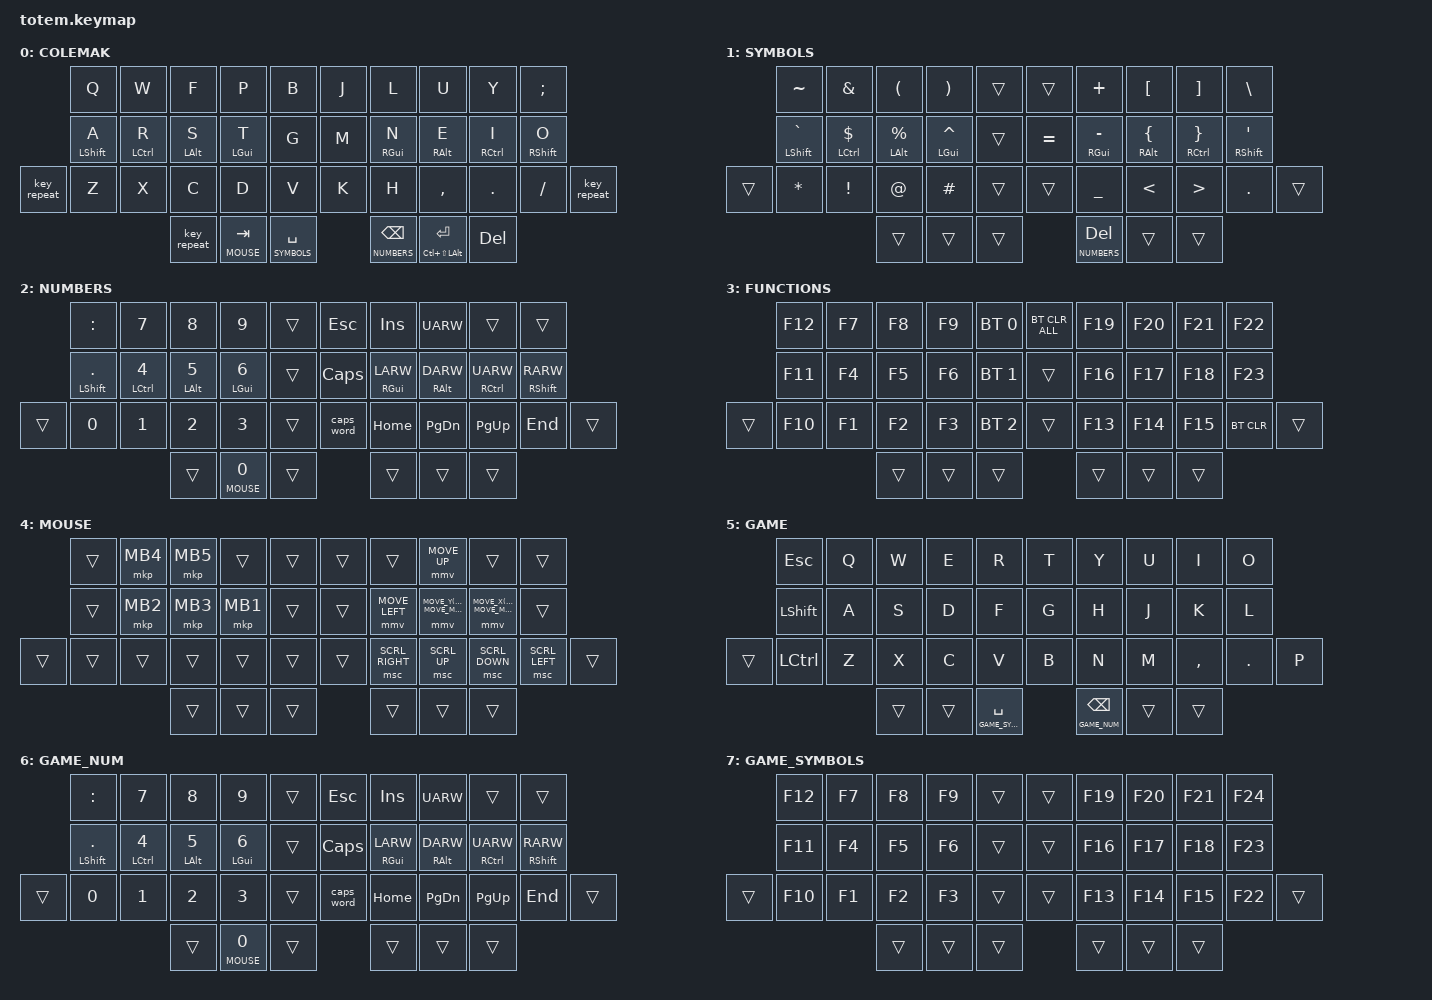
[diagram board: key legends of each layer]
//
//                                                        ▀▀▀▀▀     ▀▀▀▀▀          ▀▀█▀▀
//                                                        ▄▀▀▀▄  ▄  ▄▀▀▀▄  ▄  ▄▀▀▀▄  █  ▄▀▀▀▄
//                                                        █   █  █  █   █  █  █   █  █  █   █
//                                                         ▀▀▀   █   ▀▀▀   █   ▀▀▀   ▀   ▀▀▀
//                                                               █      ▄▄▄█▄▄▄    █   █  
//                                                               ▀      █  █  █     █▄█
//                                                             ▀▀▀▀▀    █  █  █      ▀
//                                                                      ▀  ▀  ▀
//
// ▄▄▄▄▄▄▄▄▄▄▄▄▄▄▄▄▄▄▄▄▄▄▄▄▄▄▄▄▄▄▄▄▄▄▄▄▄▄▄▄▄▄▄▄▄▄▄▄▄▄▄▄▄▄▄▄▄▄▄▄▄▄▄▄▄▄▄▄▄▄▄▄▄▄▄▄▄▄▄▄▄▄▄▄▄▄▄▄▄▄▄▄▄▄▄▄▄▄▄▄▄▄▄▄▄▄▄▄▄▄▄▄▄▄▄▄▄▄▄▄▄▄▄▄▄▄▄▄▄▄▄▄▄▄▄▄▄▄▄▄▄▄▄▄▄▄▄▄▄
       

#include <behaviors.dtsi>
#include <dt-bindings/zmk/keys.h>
#include <dt-bindings/zmk/bt.h>
#include <dt-bindings/zmk/outputs.h>
#include <dt-bindings/zmk/mouse.h>

#define COLEMAK   0
#define SYMBOLS   1
#define NUMBERS   2
#define FUNCTIONS 3
#define MOUSE     4
#define GAME      5
#define GAME_NUM  6
#define GAME_SYMBOLS  7


// Mouse config
#define U_MOUSE_MOVE_MAX 2000
#undef MOVE_UP
#undef MOVE_DOWN
#undef MOVE_LEFT
#undef MOVE_RIGHT
#define MOVE_UP MOVE_Y(-U_MOUSE_MOVE_MAX)
#define MOVE_DOWN MOVE_Y(U_MOUSE_MOVE_MAX)
#define MOVE_LEFT MOVE_X(-U_MOUSE_MOVE_MAX)
#define MOVE_RIGHT MOVE_X(U_MOUSE_MOVE_MAX)

&mmv {
 	time-to-max-speed-ms = <500>;
};

#define U_MOUSE_SCROLL_MAX 100
#undef SCROLL_UP
#undef SCROLL_DOWN
#undef SCROLL_LEFT
#undef SCROLL_RIGHT
#define SCROLL_UP SCROLL_Y(U_MOUSE_SCROLL_MAX)
#define SCROLL_DOWN SCROLL_Y(-U_MOUSE_SCROLL_MAX)
#define SCROLL_LEFT SCROLL_X(-U_MOUSE_SCROLL_MAX)
#define SCROLL_RIGHT SCROLL_X(U_MOUSE_SCROLL_MAX)

&msc {
  time-to-max-speed-ms = <500>;
};

&mt {
  quick-tap-ms = <100>;
  global-quick-tap;
  flavor = "tap-preferred";
  tapping-term-ms = <170>;
};

&sl {
    release-after-ms = <2000>;
};



/ {
    combos {
        compatible = "zmk,combos"; 

        function_layer_combo {
            bindings = <&mo FUNCTIONS>;
            key-positions = <34 35>; //inner thumb keys
            timeout-ms = <50>;
        };

        game_layer_combo {
            bindings = <&tog GAME>;
            key-positions = <0 1 2 3>;
            timeout-ms = <50>;
        };

        repeat_key_combo {
            bindings = <&key_repeat>;
            key-positions = <27 28>; //bottom right index and middle
            timeout-ms = <50>;
        };

    };

        keymap {
                compatible = "zmk,keymap";
// ▄▄▄▄▄▄▄▄▄▄▄▄▄▄▄▄▄▄▄▄▄▄▄▄▄▄▄▄▄▄▄▄▄▄▄▄▄▄▄▄▄▄▄▄▄▄▄▄▄▄▄▄▄▄▄▄▄▄▄▄▄▄▄▄▄▄▄▄▄▄▄▄▄▄▄▄▄▄▄▄▄▄▄▄▄▄▄▄▄▄▄▄▄▄▄▄▄▄▄▄▄▄▄▄▄▄▄▄▄▄▄▄▄▄▄▄▄▄▄▄▄▄▄▄▄▄▄▄▄▄▄▄▄▄▄▄▄▄▄▄▄▄▄▄▄▄▄▄▄

                base_layer {
// ┏━━━━━━━━━━━━━━━━━━━━━━━━━━━━━━━━━━━━━━━┓
label= "COLEMAK"                           ;
// ┗━━━━━━━━━━━━━━━━━━━━━━━━━━━━━━━━━━━━━━━┛
//             ┏━━━━━━━━━━━┳━━━━━━━━━━━┳━━━━━━━━━━━┳━━━━━━━━━━━┳━━━━━━━━━━━┓   ┏━━━━━━━━━━━┳━━━━━━━━━━━┳━━━━━━━━━━━┳━━━━━━━━━━━┳━━━━━━━━━━━┓
//             ┃     Q     ┃     W     ┃     F     ┃     P     ┃     B     ┃   ┃     J     ┃     L     ┃     U     ┃     Y     ┃     ;     ┃
//             ┣━━━━━━━━━━━╋━━━━━━━━━━━╋━━━━━━━━━━━╋━━━━━━━━━━━╋━━━━━━━━━━━┫   ┣━━━━━━━━━━━╋━━━━━━━━━━━╋━━━━━━━━━━━╋━━━━━━━━━━━╋━━━━━━━━━━━┫
//             ┃     A     ┃     R     ┃     S     ┃     T     ┃     G     ┃   ┃     M     ┃     N     ┃     E     ┃     I     ┃     O     ┃
// ┏━━━━━━━━━━━╋━━━━━━━━━━━╋━━━━━━━━━━━╋━━━━━━━━━━━╋━━━━━━━━━━━╋━━━━━━━━━━━┫   ┣━━━━━━━━━━━╋━━━━━━━━━━━╋━━━━━━━━━━━╋━━━━━━━━━━━╋━━━━━━━━━━━╋━━━━━━━━━━━┓
// ┃  REPEAT   ┃     Z     ┃     X     ┃     C     ┃     D     ┃     V     ┃   ┃     K     ┃     H     ┃     ,     ┃     .     ┃     /     ┃   REPEAT  ┃
// ┗━━━━━━━━━━━┻━━━━━━━━━━━┻━━━━━━━━━━━╋━━━━━━━━━━━╋━━━━━━━━━━━╋━━━━━━━━━━━┫   ┣━━━━━━━━━━━╋━━━━━━━━━━━╋━━━━━━━━━━━╋━━━━━━━━━━━┻━━━━━━━━━━━┻━━━━━━━━━━━┛
//                                     ┃   REPEAT  ┃    TAB    ┃    SPC    ┃   ┃   BSPC    ┃   ENTER   ┃    DEL    ┃
//                                     ┗━━━━━━━━━━━┻━━━━━━━━━━━┻━━━━━━━━━━━┛   ┗━━━━━━━━━━━┻━━━━━━━━━━━┻━━━━━━━━━━━┛
 bindings = <
// ╷                    ╷               ╷               ╷               ╷               ╷               ╷       ╷               ╷               ╷               ╷               ╷               ╷               ╷

                        &kp Q           &kp W           &kp F           &kp P           &kp B                   &kp J           &kp L           &kp U           &kp Y           &kp SEMI
                        &mt LSHFT A     &mt LCTRL R     &mt LALT S      &mt LGUI T      &kp G                   &kp M           &mt RGUI N      &mt RALT E      &mt RCTRL I     &mt RSHFT O
        &key_repeat     &kp Z           &kp X           &kp C           &kp D           &kp V                   &kp K           &kp H           &kp COMMA       &kp DOT         &kp FSLH        &key_repeat
                                                        &key_repeat     &lt MOUSE TAB   &lt SYMBOLS SPACE       &lt NUMBERS BSPC   &mt LC(LS(LALT)) RET    &kp DEL
                        >;
                };

// ▄▄▄▄▄▄▄▄▄▄▄▄▄▄▄▄▄▄▄▄▄▄▄▄▄▄▄▄▄▄▄▄▄▄▄▄▄▄▄▄▄▄▄▄▄▄▄▄▄▄▄▄▄▄▄▄▄▄▄▄▄▄▄▄▄▄▄▄▄▄▄▄▄▄▄▄▄▄▄▄▄▄▄▄▄▄▄▄▄▄▄▄▄▄▄▄▄▄▄▄▄▄▄▄▄▄▄▄▄▄▄▄▄▄▄▄▄▄▄▄▄▄▄▄▄▄▄▄▄▄▄▄▄▄▄▄▄▄▄▄▄▄▄▄▄▄▄▄▄


                symbols_layer {
// ┏━━━━━━━━━━━━━━━━━━━━━━━━━━━━━━━━━━━━━━━┓
label= "SYMBOLS"                           ;
// ┗━━━━━━━━━━━━━━━━━━━━━━━━━━━━━━━━━━━━━━━┛
//             ┏━━━━━━━━━━━┳━━━━━━━━━━━┳━━━━━━━━━━━┳━━━━━━━━━━━┳━━━━━━━━━━━┓   ┏━━━━━━━━━━━┳━━━━━━━━━━━┳━━━━━━━━━━━┳━━━━━━━━━━━┳━━━━━━━━━━━┓
//             ┃     ~     ┃     &     ┃     (     ┃     )     ┃           ┃   ┃           ┃     +     ┃     [     ┃     ]     ┃     \     ┃
//             ┣━━━━━━━━━━━╋━━━━━━━━━━━╋━━━━━━━━━━━╋━━━━━━━━━━━╋━━━━━━━━━━━┫   ┣━━━━━━━━━━━╋━━━━━━━━━━━╋━━━━━━━━━━━╋━━━━━━━━━━━╋━━━━━━━━━━━┫
//             ┃     `     ┃     $     ┃     &     ┃     ^     ┃           ┃   ┃     =     ┃     -     ┃     {     ┃     }     ┃     '     ┃
// ┏━━━━━━━━━━━╋━━━━━━━━━━━╋━━━━━━━━━━━╋━━━━━━━━━━━╋━━━━━━━━━━━╋━━━━━━━━━━━┫   ┣━━━━━━━━━━━╋━━━━━━━━━━━╋━━━━━━━━━━━╋━━━━━━━━━━━╋━━━━━━━━━━━╋━━━━━━━━━━━┓
// ┃           ┃     *     ┃     !     ┃     @     ┃     #     ┃           ┃   ┃           ┃     _     ┃     <     ┃     >     ┃     /     ┃           ┃
// ┗━━━━━━━━━━━┻━━━━━━━━━━━┻━━━━━━━━━━━╋━━━━━━━━━━━╋━━━━━━━━━━━╋━━━━━━━━━━━┫   ┣━━━━━━━━━━━╋━━━━━━━━━━━╋━━━━━━━━━━━╋━━━━━━━━━━━┻━━━━━━━━━━━┻━━━━━━━━━━━┛
//                                     ┃           ┃           ┃           ┃   ┃    DEL    ┃           ┃           ┃
//                                     ┗━━━━━━━━━━━┻━━━━━━━━━━━┻━━━━━━━━━━━┛   ┗━━━━━━━━━━━┻━━━━━━━━━━━┻━━━━━━━━━━━┛
 bindings = <
//      ╷               ╷               ╷               ╷               ╷               ╷               ╷   ╷                   ╷               ╷               ╷               ╷               ╷               ╷
//
                        &kp TILDE       &kp AMPS        &kp LPAR        &kp RPAR        &trans               &trans             &kp PLUS        &kp LBKT        &kp RBKT        &kp BSLH
                        &mt LSHFT GRAVE &mt LCTRL DLLR  &mt LALT PRCNT  &mt LGUI CARET  &trans               &kp EQUAL          &mt RGUI MINUS  &mt RALT LBRC   &mt RCTRL RBRC  &mt RSHFT SQT
        &trans          &kp STAR        &kp EXCL        &kp AT          &kp HASH        &trans               &trans             &kp UNDER       &kp LT          &kp GT          &kp DOT         &trans      
                                                        &trans          &trans          &trans               &lt NUMBERS DEL    &trans          &trans      
                        >;
                };

// ▄▄▄▄▄▄▄▄▄▄▄▄▄▄▄▄▄▄▄▄▄▄▄▄▄▄▄▄▄▄▄▄▄▄▄▄▄▄▄▄▄▄▄▄▄▄▄▄▄▄▄▄▄▄▄▄▄▄▄▄▄▄▄▄▄▄▄▄▄▄▄▄▄▄▄▄▄▄▄▄▄▄▄▄▄▄▄▄▄▄▄▄▄▄▄▄▄▄▄▄▄▄▄▄▄▄▄▄▄▄▄▄▄▄▄▄▄▄▄▄▄▄▄▄▄▄▄▄▄▄▄▄▄▄▄▄▄▄▄▄▄▄▄▄▄▄▄▄▄


                numbers_layer {
// ┏━━━━━━━━━━━━━━━━━━━━━━━━━━━━━━━━━━━━━━━┓
label= "NUMBERS"                           ;
// ┗━━━━━━━━━━━━━━━━━━━━━━━━━━━━━━━━━━━━━━━┛
//             ┏━━━━━━━━━━━┳━━━━━━━━━━━┳━━━━━━━━━━━┳━━━━━━━━━━━┳━━━━━━━━━━━┓   ┏━━━━━━━━━━━┳━━━━━━━━━━━┳━━━━━━━━━━━┳━━━━━━━━━━━┳━━━━━━━━━━━┓
//             ┃     :     ┃     7     ┃     8     ┃     9     ┃           ┃   ┃    ESC    ┃   INSERT  ┃    UP     ┃           ┃           ┃
//             ┣━━━━━━━━━━━╋━━━━━━━━━━━╋━━━━━━━━━━━╋━━━━━━━━━━━╋━━━━━━━━━━━┫   ┣━━━━━━━━━━━╋━━━━━━━━━━━╋━━━━━━━━━━━╋━━━━━━━━━━━╋━━━━━━━━━━━┫
//             ┃     .     ┃     4     ┃     5     ┃     6     ┃           ┃   ┃   CAPS    ┃    LEFT   ┃   DOWN    ┃    UP     ┃   RIGHT   ┃
// ┏━━━━━━━━━━━╋━━━━━━━━━━━╋━━━━━━━━━━━╋━━━━━━━━━━━╋━━━━━━━━━━━╋━━━━━━━━━━━┫   ┣━━━━━━━━━━━╋━━━━━━━━━━━╋━━━━━━━━━━━╋━━━━━━━━━━━╋━━━━━━━━━━━╋━━━━━━━━━━━┓
// ┃           ┃     0     ┃     1     ┃     2     ┃     3     ┃           ┃   ┃ CAPS WRD  ┃    HOME   ┃  PG DOWN  ┃   PG UP   ┃    END    ┃           ┃
// ┗━━━━━━━━━━━┻━━━━━━━━━━━┻━━━━━━━━━━━╋━━━━━━━━━━━╋━━━━━━━━━━━╋━━━━━━━━━━━┫   ┣━━━━━━━━━━━╋━━━━━━━━━━━╋━━━━━━━━━━━╋━━━━━━━━━━━┻━━━━━━━━━━━┻━━━━━━━━━━━┛
//                                     ┃           ┃  &kp N0   ┃           ┃   ┃           ┃           ┃           ┃
//                                     ┗━━━━━━━━━━━┻━━━━━━━━━━━┻━━━━━━━━━━━┛   ┗━━━━━━━━━━━┻━━━━━━━━━━━┻━━━━━━━━━━━┛
 bindings = <
//      ╷               ╷               ╷               ╷               ╷               ╷               ╷       ╷               ╷               ╷               ╷               ╷               ╷               ╷
//
                        &kp COLON       &kp N7          &kp N8          &kp N9          &trans                  &kp ESC         &kp INS         &kp UARW        &trans          &trans       
                        &mt LSHFT DOT   &mt LCTRL N4    &mt LALT N5     &mt LGUI N6     &trans                  &kp CAPS        &mt RGUI LARW   &mt RALT DARW   &mt RCTRL UARW  &mt RSHFT RARW 
        &trans          &kp N0          &kp N1          &kp N2          &kp N3          &trans                  &caps_word      &kp HOME        &kp PG_DN       &kp PG_UP       &kp END         &trans         
                                                        &trans          &lt MOUSE N0    &trans                  &trans          &trans          &trans      
                        >;
                };


// ▄▄▄▄▄▄▄▄▄▄▄▄▄▄▄▄▄▄▄▄▄▄▄▄▄▄▄▄▄▄▄▄▄▄▄▄▄▄▄▄▄▄▄▄▄▄▄▄▄▄▄▄▄▄▄▄▄▄▄▄▄▄▄▄▄▄▄▄▄▄▄▄▄▄▄▄▄▄▄▄▄▄▄▄▄▄▄▄▄▄▄▄▄▄▄▄▄▄▄▄▄▄▄▄▄▄▄▄▄▄▄▄▄▄▄▄▄▄▄▄▄▄▄▄▄▄▄▄▄▄▄▄▄▄▄▄▄▄▄▄▄▄▄▄▄▄▄▄▄


                functions_layer {
// ┏━━━━━━━━━━━━━━━━━━━━━━━━━━━━━━━━━━━━━━━┓
label= "FUNCTIONS"                         ;
// ┗━━━━━━━━━━━━━━━━━━━━━━━━━━━━━━━━━━━━━━━┛
//             ┏━━━━━━━━━━━┳━━━━━━━━━━━┳━━━━━━━━━━━┳━━━━━━━━━━━┳━━━━━━━━━━━┓   ┏━━━━━━━━━━━┳━━━━━━━━━━━┳━━━━━━━━━━━┳━━━━━━━━━━━┳━━━━━━━━━━━┓
//             ┃    F12    ┃    F7     ┃    F8     ┃    F9     ┃   BT 0    ┃   ┃ BT CLR ALL┃    F19    ┃    F20    ┃    F21    ┃    F22    ┃
//             ┣━━━━━━━━━━━╋━━━━━━━━━━━╋━━━━━━━━━━━╋━━━━━━━━━━━╋━━━━━━━━━━━┫   ┣━━━━━━━━━━━╋━━━━━━━━━━━╋━━━━━━━━━━━╋━━━━━━━━━━━╋━━━━━━━━━━━┫
//             ┃    F11    ┃    F4     ┃    F5     ┃    F6     ┃   BT 1    ┃   ┃           ┃    F16    ┃    F17    ┃    F18    ┃    F23    ┃
// ┏━━━━━━━━━━━╋━━━━━━━━━━━╋━━━━━━━━━━━╋━━━━━━━━━━━╋━━━━━━━━━━━╋━━━━━━━━━━━┫   ┣━━━━━━━━━━━╋━━━━━━━━━━━╋━━━━━━━━━━━╋━━━━━━━━━━━╋━━━━━━━━━━━╋━━━━━━━━━━━┓
// ┃           ┃    F10    ┃    F1     ┃    F2     ┃    F3     ┃   BT 2    ┃   ┃           ┃    F13    ┃    F14    ┃    F15    ┃   BT CLR  ┃           ┃
// ┗━━━━━━━━━━━┻━━━━━━━━━━━┻━━━━━━━━━━━╋━━━━━━━━━━━╋━━━━━━━━━━━╋━━━━━━━━━━━┫   ┣━━━━━━━━━━━╋━━━━━━━━━━━╋━━━━━━━━━━━╋━━━━━━━━━━━┻━━━━━━━━━━━┻━━━━━━━━━━━┛
//                                     ┃           ┃           ┃           ┃   ┃           ┃           ┃           ┃
//                                     ┗━━━━━━━━━━━┻━━━━━━━━━━━┻━━━━━━━━━━━┛   ┗━━━━━━━━━━━┻━━━━━━━━━━━┻━━━━━━━━━━━┛
 bindings = <
//      ╷               ╷               ╷               ╷               ╷               ╷               ╷       ╷               ╷               ╷               ╷               ╷               ╷               ╷

                        &kp F12         &kp F7          &kp F8          &kp F9          &bt BT_SEL 0            &bt BT_CLR_ALL  &kp F19         &kp F20         &kp F21         &kp F22      
                        &kp F11         &kp F4          &kp F5          &kp F6          &bt BT_SEL 1            &trans          &kp F16         &kp F17         &kp F18         &kp F23     
        &trans          &kp F10         &kp F1          &kp F2          &kp F3          &bt BT_SEL 2            &trans          &kp F13         &kp F14         &kp F15         &bt BT_CLR      &trans         
                                                        &trans          &trans          &trans                  &trans          &trans          &trans      
                        >;
                };      


// ▄▄▄▄▄▄▄▄▄▄▄▄▄▄▄▄▄▄▄▄▄▄▄▄▄▄▄▄▄▄▄▄▄▄▄▄▄▄▄▄▄▄▄▄▄▄▄▄▄▄▄▄▄▄▄▄▄▄▄▄▄▄▄▄▄▄▄▄▄▄▄▄▄▄▄▄▄▄▄▄▄▄▄▄▄▄▄▄▄▄▄▄▄▄▄▄▄▄▄▄▄▄▄▄▄▄▄▄▄▄▄▄▄▄▄▄▄▄▄▄▄▄▄▄▄▄▄▄▄▄▄▄▄▄▄▄▄▄▄▄▄▄▄▄▄▄▄▄▄


                mouse_layer {
// ┏━━━━━━━━━━━━━━━━━━━━━━━━━━━━━━━━━━━━━━━┓
label= "MOUSE"                             ;
// ┗━━━━━━━━━━━━━━━━━━━━━━━━━━━━━━━━━━━━━━━┛
//             ┏━━━━━━━━━━━┳━━━━━━━━━━━┳━━━━━━━━━━━┳━━━━━━━━━━━┳━━━━━━━━━━━┓   ┏━━━━━━━━━━━┳━━━━━━━━━━━┳━━━━━━━━━━━┳━━━━━━━━━━━┳━━━━━━━━━━━┓
//             ┃           ┃     m4    ┃     m5    ┃           ┃           ┃   ┃           ┃           ┃   m up    ┃           ┃           ┃
//             ┣━━━━━━━━━━━╋━━━━━━━━━━━╋━━━━━━━━━━━╋━━━━━━━━━━━╋━━━━━━━━━━━┫   ┣━━━━━━━━━━━╋━━━━━━━━━━━╋━━━━━━━━━━━╋━━━━━━━━━━━╋━━━━━━━━━━━┫
//             ┃           ┃     m2    ┃     m3    ┃     m1    ┃           ┃   ┃           ┃   m left  ┃   m down  ┃  m right  ┃           ┃
// ┏━━━━━━━━━━━╋━━━━━━━━━━━╋━━━━━━━━━━━╋━━━━━━━━━━━╋━━━━━━━━━━━╋━━━━━━━━━━━┫   ┣━━━━━━━━━━━╋━━━━━━━━━━━╋━━━━━━━━━━━╋━━━━━━━━━━━╋━━━━━━━━━━━╋━━━━━━━━━━━┓
// ┃           ┃           ┃           ┃           ┃           ┃           ┃   ┃           ┃   s left  ┃   s up    ┃  s down   ┃  s right  ┃           ┃
// ┗━━━━━━━━━━━┻━━━━━━━━━━━┻━━━━━━━━━━━╋━━━━━━━━━━━╋━━━━━━━━━━━╋━━━━━━━━━━━┫   ┣━━━━━━━━━━━╋━━━━━━━━━━━╋━━━━━━━━━━━╋━━━━━━━━━━━┻━━━━━━━━━━━┻━━━━━━━━━━━┛
//                                     ┃           ┃           ┃           ┃   ┃           ┃           ┃           ┃
//                                     ┗━━━━━━━━━━━┻━━━━━━━━━━━┻━━━━━━━━━━━┛   ┗━━━━━━━━━━━┻━━━━━━━━━━━┻━━━━━━━━━━━┛
 bindings = <
// ╷                    ╷               ╷               ╷               ╷               ╷               ╷       ╷               ╷               ╷               ╷               ╷               ╷               ╷

                        &trans          &mkp MB4        &mkp MB5        &trans          &trans                  &trans          &trans          &mmv MOVE_UP    &trans          &trans   
                        &trans          &mkp MB2        &mkp MB3        &mkp MB1        &trans                  &trans          &mmv MOVE_LEFT  &mmv MOVE_DOWN  &mmv MOVE_RIGHT  &trans      
        &trans          &trans          &trans          &trans          &trans          &trans                  &trans          &msc SCRL_RIGHT  &msc SCRL_UP  &msc SCRL_DOWN  &msc SCRL_LEFT  &trans   
                                                        &trans          &trans          &trans                  &trans          &trans          &trans  
                        >;
                };


// ▄▄▄▄▄▄▄▄▄▄▄▄▄▄▄▄▄▄▄▄▄▄▄▄▄▄▄▄▄▄▄▄▄▄▄▄▄▄▄▄▄▄▄▄▄▄▄▄▄▄▄▄▄▄▄▄▄▄▄▄▄▄▄▄▄▄▄▄▄▄▄▄▄▄▄▄▄▄▄▄▄▄▄▄▄▄▄▄▄▄▄▄▄▄▄▄▄▄▄▄▄▄▄▄▄▄▄▄▄▄▄▄▄▄▄▄▄▄▄▄▄▄▄▄▄▄▄▄▄▄▄▄▄▄▄▄▄▄▄▄▄▄▄▄▄▄▄▄▄


                game_layer {
// ┏━━━━━━━━━━━━━━━━━━━━━━━━━━━━━━━━━━━━━━━┓
label= "GAME"                              ;
// ┗━━━━━━━━━━━━━━━━━━━━━━━━━━━━━━━━━━━━━━━┛
//             ┏━━━━━━━━━━━┳━━━━━━━━━━━┳━━━━━━━━━━━┳━━━━━━━━━━━┳━━━━━━━━━━━┓   ┏━━━━━━━━━━━┳━━━━━━━━━━━┳━━━━━━━━━━━┳━━━━━━━━━━━┳━━━━━━━━━━━┓
//             ┃    ESC    ┃     Q     ┃     W     ┃     E     ┃     R     ┃   ┃     T     ┃     Y     ┃     U     ┃     I     ┃     O     ┃
//             ┣━━━━━━━━━━━╋━━━━━━━━━━━╋━━━━━━━━━━━╋━━━━━━━━━━━╋━━━━━━━━━━━┫   ┣━━━━━━━━━━━╋━━━━━━━━━━━╋━━━━━━━━━━━╋━━━━━━━━━━━╋━━━━━━━━━━━┫
//             ┃   SHIFT   ┃     A     ┃     S     ┃     D     ┃     F     ┃   ┃     G     ┃     H     ┃     J     ┃     K     ┃     L     ┃
// ┏━━━━━━━━━━━╋━━━━━━━━━━━╋━━━━━━━━━━━╋━━━━━━━━━━━╋━━━━━━━━━━━╋━━━━━━━━━━━┫   ┣━━━━━━━━━━━╋━━━━━━━━━━━╋━━━━━━━━━━━╋━━━━━━━━━━━╋━━━━━━━━━━━╋━━━━━━━━━━━┓
// ┃   REPEAT  ┃    CTL    ┃     Z     ┃     X     ┃     C     ┃     V     ┃   ┃     B     ┃     N     ┃     M     ┃     ,     ┃     .     ┃     P     ┃
// ┗━━━━━━━━━━━┻━━━━━━━━━━━┻━━━━━━━━━━━╋━━━━━━━━━━━╋━━━━━━━━━━━╋━━━━━━━━━━━┫   ┣━━━━━━━━━━━╋━━━━━━━━━━━╋━━━━━━━━━━━╋━━━━━━━━━━━┻━━━━━━━━━━━┻━━━━━━━━━━━┛
//                                     ┃           ┃           ┃           ┃   ┃           ┃           ┃           ┃
//                                     ┗━━━━━━━━━━━┻━━━━━━━━━━━┻━━━━━━━━━━━┛   ┗━━━━━━━━━━━┻━━━━━━━━━━━┻━━━━━━━━━━━┛
 bindings = <
// ╷                    ╷               ╷               ╷               ╷               ╷               ╷       ╷               ╷               ╷               ╷               ╷               ╷               ╷

                        &kp ESC         &kp Q           &kp W           &kp E           &kp R                   &kp T           &kp Y           &kp U           &kp I           &kp O
                        &kp LSHFT       &kp A           &kp S           &kp D           &kp F                   &kp G           &kp H           &kp J           &kp K           &kp L      
        &trans          &kp LCTRL       &kp Z           &kp X           &kp C           &kp V                   &kp B           &kp N           &kp M           &kp COMMA       &kp DOT         &kp P
                                                        &trans          &trans      &lt GAME_SYMBOLS SPACE    &lt GAME_NUM BSPC   &trans        &trans
                        >;
                };

// ▄▄▄▄▄▄▄▄▄▄▄▄▄▄▄▄▄▄▄▄▄▄▄▄▄▄▄▄▄▄▄▄▄▄▄▄▄▄▄▄▄▄▄▄▄▄▄▄▄▄▄▄▄▄▄▄▄▄▄▄▄▄▄▄▄▄▄▄▄▄▄▄▄▄▄▄▄▄▄▄▄▄▄▄▄▄▄▄▄▄▄▄▄▄▄▄▄▄▄▄▄▄▄▄▄▄▄▄▄▄▄▄▄▄▄▄▄▄▄▄▄▄▄▄▄▄▄▄▄▄▄▄▄▄▄▄▄▄▄▄▄▄▄▄▄▄▄▄▄


                game_numbers_layer {
// ┏━━━━━━━━━━━━━━━━━━━━━━━━━━━━━━━━━━━━━━━┓
label= "GAME_NUM"                              ;
// ┗━━━━━━━━━━━━━━━━━━━━━━━━━━━━━━━━━━━━━━━┛
//             ┏━━━━━━━━━━━┳━━━━━━━━━━━┳━━━━━━━━━━━┳━━━━━━━━━━━┳━━━━━━━━━━━┓   ┏━━━━━━━━━━━┳━━━━━━━━━━━┳━━━━━━━━━━━┳━━━━━━━━━━━┳━━━━━━━━━━━┓
//             ┃     :     ┃     7     ┃     8     ┃     9     ┃           ┃   ┃    ESC    ┃   INSERT  ┃    UP     ┃           ┃           ┃
//             ┣━━━━━━━━━━━╋━━━━━━━━━━━╋━━━━━━━━━━━╋━━━━━━━━━━━╋━━━━━━━━━━━┫   ┣━━━━━━━━━━━╋━━━━━━━━━━━╋━━━━━━━━━━━╋━━━━━━━━━━━╋━━━━━━━━━━━┫
//             ┃     .     ┃     4     ┃     5     ┃     6     ┃           ┃   ┃   CAPS    ┃    LEFT   ┃   DOWN    ┃    UP     ┃   RIGHT   ┃
// ┏━━━━━━━━━━━╋━━━━━━━━━━━╋━━━━━━━━━━━╋━━━━━━━━━━━╋━━━━━━━━━━━╋━━━━━━━━━━━┫   ┣━━━━━━━━━━━╋━━━━━━━━━━━╋━━━━━━━━━━━╋━━━━━━━━━━━╋━━━━━━━━━━━╋━━━━━━━━━━━┓
// ┃           ┃     0     ┃     1     ┃     2     ┃     3     ┃           ┃   ┃ CAPS WRD  ┃    HOME   ┃  PG DOWN  ┃   PG UP   ┃    END    ┃           ┃
// ┗━━━━━━━━━━━┻━━━━━━━━━━━┻━━━━━━━━━━━╋━━━━━━━━━━━╋━━━━━━━━━━━╋━━━━━━━━━━━┫   ┣━━━━━━━━━━━╋━━━━━━━━━━━╋━━━━━━━━━━━╋━━━━━━━━━━━┻━━━━━━━━━━━┻━━━━━━━━━━━┛
//                                     ┃           ┃  &kp N0   ┃           ┃   ┃           ┃           ┃           ┃
//                                     ┗━━━━━━━━━━━┻━━━━━━━━━━━┻━━━━━━━━━━━┛   ┗━━━━━━━━━━━┻━━━━━━━━━━━┻━━━━━━━━━━━┛
 bindings = <
//      ╷               ╷               ╷               ╷               ╷               ╷               ╷       ╷               ╷               ╷               ╷               ╷               ╷               ╷
//
                        &kp COLON       &kp N7          &kp N8          &kp N9          &trans                  &kp ESC         &kp INS         &kp UARW        &trans          &trans       
                        &mt LSHFT DOT   &mt LCTRL N4    &mt LALT N5     &mt LGUI N6     &trans                  &kp CAPS        &mt RGUI LARW   &mt RALT DARW   &mt RCTRL UARW  &mt RSHFT RARW 
        &trans          &kp N0          &kp N1          &kp N2          &kp N3          &trans                  &caps_word      &kp HOME        &kp PG_DN       &kp PG_UP       &kp END         &trans         
                                                        &trans          &lt MOUSE N0    &trans                  &trans          &trans          &trans      
                        >;
                };


// ▄▄▄▄▄▄▄▄▄▄▄▄▄▄▄▄▄▄▄▄▄▄▄▄▄▄▄▄▄▄▄▄▄▄▄▄▄▄▄▄▄▄▄▄▄▄▄▄▄▄▄▄▄▄▄▄▄▄▄▄▄▄▄▄▄▄▄▄▄▄▄▄▄▄▄▄▄▄▄▄▄▄▄▄▄▄▄▄▄▄▄▄▄▄▄▄▄▄▄▄▄▄▄▄▄▄▄▄▄▄▄▄▄▄▄▄▄▄▄▄▄▄▄▄▄▄▄▄▄▄▄▄▄▄▄▄▄▄▄▄▄▄▄▄▄▄▄▄▄


                game_symbols_layer {
// ┏━━━━━━━━━━━━━━━━━━━━━━━━━━━━━━━━━━━━━━━┓
label= "GAME_SYMBOLS"                      ;
// ┗━━━━━━━━━━━━━━━━━━━━━━━━━━━━━━━━━━━━━━━┛
//             ┏━━━━━━━━━━━┳━━━━━━━━━━━┳━━━━━━━━━━━┳━━━━━━━━━━━┳━━━━━━━━━━━┓   ┏━━━━━━━━━━━┳━━━━━━━━━━━┳━━━━━━━━━━━┳━━━━━━━━━━━┳━━━━━━━━━━━┓
//             ┃    F12    ┃    F7     ┃    F8     ┃    F9     ┃           ┃   ┃           ┃    F19    ┃    F20    ┃    F21    ┃    F24    ┃
//             ┣━━━━━━━━━━━╋━━━━━━━━━━━╋━━━━━━━━━━━╋━━━━━━━━━━━╋━━━━━━━━━━━┫   ┣━━━━━━━━━━━╋━━━━━━━━━━━╋━━━━━━━━━━━╋━━━━━━━━━━━╋━━━━━━━━━━━┫
//             ┃    F11    ┃    F4     ┃    F5     ┃    F6     ┃           ┃   ┃           ┃    F16    ┃    F17    ┃    F18    ┃    F23    ┃
// ┏━━━━━━━━━━━╋━━━━━━━━━━━╋━━━━━━━━━━━╋━━━━━━━━━━━╋━━━━━━━━━━━╋━━━━━━━━━━━┫   ┣━━━━━━━━━━━╋━━━━━━━━━━━╋━━━━━━━━━━━╋━━━━━━━━━━━╋━━━━━━━━━━━╋━━━━━━━━━━━┓
// ┃           ┃    F10    ┃    F1     ┃    F2     ┃    F3     ┃           ┃   ┃           ┃    F13    ┃    F14    ┃    F15    ┃    F22    ┃           ┃
// ┗━━━━━━━━━━━┻━━━━━━━━━━━┻━━━━━━━━━━━╋━━━━━━━━━━━╋━━━━━━━━━━━╋━━━━━━━━━━━┫   ┣━━━━━━━━━━━╋━━━━━━━━━━━╋━━━━━━━━━━━╋━━━━━━━━━━━┻━━━━━━━━━━━┻━━━━━━━━━━━┛
//                                     ┃           ┃           ┃           ┃   ┃           ┃           ┃           ┃
//                                     ┗━━━━━━━━━━━┻━━━━━━━━━━━┻━━━━━━━━━━━┛   ┗━━━━━━━━━━━┻━━━━━━━━━━━┻━━━━━━━━━━━┛
 bindings = <
//      ╷               ╷               ╷               ╷               ╷               ╷               ╷       ╷               ╷               ╷               ╷               ╷               ╷               ╷

                        &kp F12         &kp F7          &kp F8          &kp F9          &trans                  &trans          &kp F19         &kp F20         &kp F21         &kp F24      
                        &kp F11         &kp F4          &kp F5          &kp F6          &trans                  &trans          &kp F16         &kp F17         &kp F18         &kp F23     
        &trans          &kp F10         &kp F1          &kp F2          &kp F3          &trans                  &trans          &kp F13         &kp F14         &kp F15         &kp F22         &trans         
                                                        &trans          &trans          &trans                  &trans          &trans          &trans      
                        >;
                };      


// ▄▄▄▄▄▄▄▄▄▄▄▄▄▄▄▄▄▄▄▄▄▄▄▄▄▄▄▄▄▄▄▄▄▄▄▄▄▄▄▄▄▄▄▄▄▄▄▄▄▄▄▄▄▄▄▄▄▄▄▄▄▄▄▄▄▄▄▄▄▄▄▄▄▄▄▄▄▄▄▄▄▄▄▄▄▄▄▄▄▄▄▄▄▄▄▄▄▄▄▄▄▄▄▄▄▄▄▄▄▄▄▄▄▄▄▄▄▄▄▄▄▄▄▄▄▄▄▄▄▄▄▄▄▄▄▄▄▄▄▄▄▄▄▄▄▄▄▄▄

        };
};
